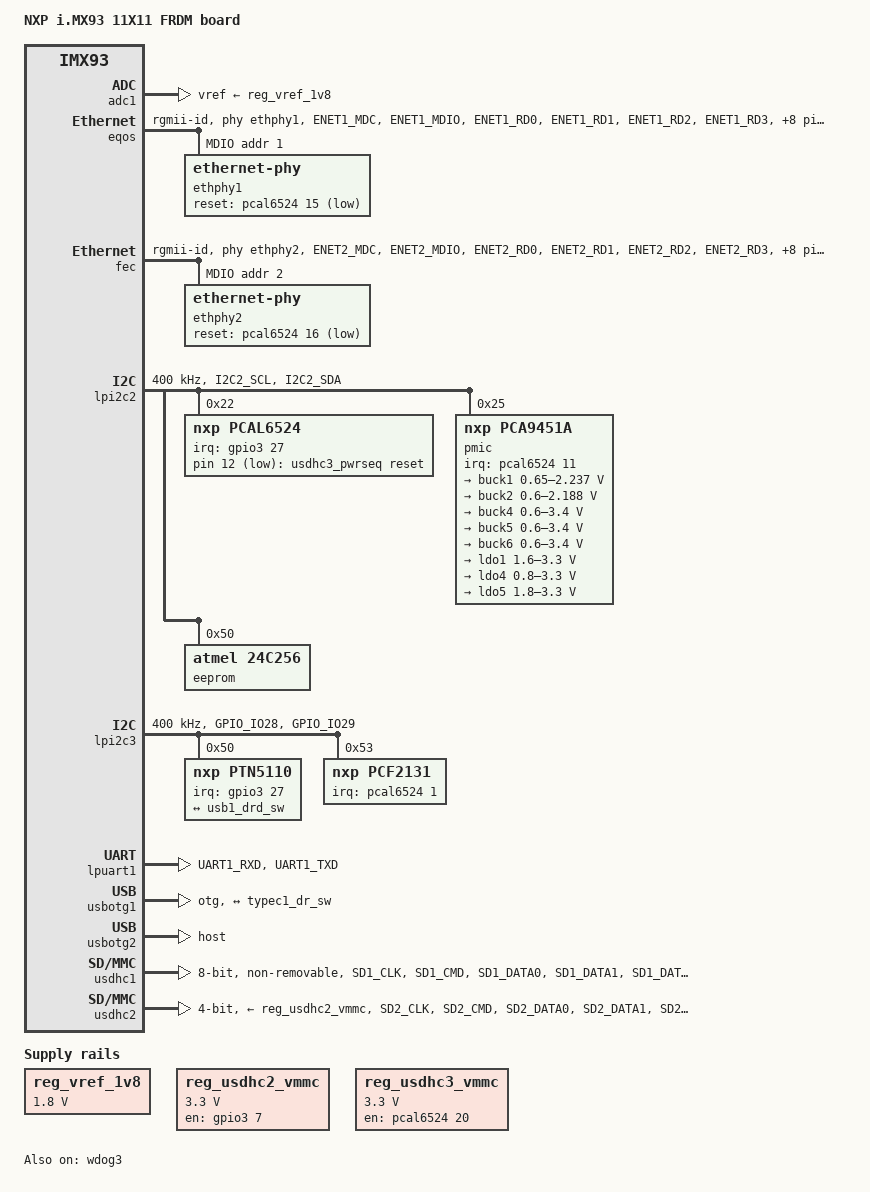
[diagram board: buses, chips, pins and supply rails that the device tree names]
// SPDX-License-Identifier: (GPL-2.0+ OR MIT)
/dts-v1/;

#include <dt-bindings/usb/pd.h>
#include "imx93.dtsi"

/ {
	compatible = "fsl,imx93-11x11-frdm", "fsl,imx93";
	model = "NXP i.MX93 11X11 FRDM board";

	aliases {
		mmc0 = &usdhc1; /* EMMC */
		mmc1 = &usdhc2; /* uSD */
		rtc0 = &pcf2131;
		serial0 = &lpuart1;
	};

	chosen {
		stdout-path = &lpuart1;
	};

	reg_vref_1v8: regulator-adc-vref {
		compatible = "regulator-fixed";
		regulator-min-microvolt = <1800000>;
		regulator-max-microvolt = <1800000>;
		regulator-name = "vref_1v8";
	};

	reg_usdhc2_vmmc: regulator-usdhc2 {
		compatible = "regulator-fixed";
		off-on-delay-us = <12000>;
		pinctrl-0 = <&pinctrl_reg_usdhc2_vmmc>;
		pinctrl-names = "default";
		regulator-min-microvolt = <3300000>;
		regulator-max-microvolt = <3300000>;
		regulator-name = "VSD_3V3";
		gpio = <&gpio3 7 GPIO_ACTIVE_HIGH>;
		enable-active-high;
	};

	reg_usdhc3_vmmc: regulator-usdhc3 {
		compatible = "regulator-fixed";
		regulator-min-microvolt = <3300000>;
		regulator-max-microvolt = <3300000>;
		regulator-name = "WLAN_EN";
		gpio = <&pcal6524 20 GPIO_ACTIVE_HIGH>;
		enable-active-high;
		/*
		 * IW612 wifi chip needs more delay than other wifi chips to complete
		 * the host interface initialization after power up, otherwise the
		 * internal state of IW612 may be unstable, resulting in the failure of
		 * the SDIO3.0 switch voltage.
		 */
		startup-delay-us = <20000>;
	};

	reserved-memory {
		ranges;
		#address-cells = <2>;
		#size-cells = <2>;

		linux,cma {
			compatible = "shared-dma-pool";
			alloc-ranges = <0 0x80000000 0 0x30000000>;
			reusable;
			size = <0 0x10000000>;
			linux,cma-default;
		};

		rsc_table: rsc-table@2021e000 {
			reg = <0 0x2021e000 0 0x1000>;
			no-map;
		};

		vdev0vring0: vdev0vring0@a4000000 {
			reg = <0 0xa4000000 0 0x8000>;
			no-map;
		};

		vdev0vring1: vdev0vring1@a4008000 {
			reg = <0 0xa4008000 0 0x8000>;
			no-map;
		};

		vdev1vring0: vdev1vring0@a4010000 {
			reg = <0 0xa4010000 0 0x8000>;
			no-map;
		};

		vdev1vring1: vdev1vring1@a4018000 {
			reg = <0 0xa4018000 0 0x8000>;
			no-map;
		};

		vdevbuffer: vdevbuffer@a4020000 {
			compatible = "shared-dma-pool";
			reg = <0 0xa4020000 0 0x100000>;
			no-map;
		};
	};

	usdhc3_pwrseq: usdhc3_pwrseq {
		compatible = "mmc-pwrseq-simple";
		reset-gpios = <&pcal6524 12 GPIO_ACTIVE_LOW>;
	};
};

&adc1 {
	vref-supply = <&reg_vref_1v8>;
	status = "okay";
};

&eqos {
	phy-handle = <&ethphy1>;
	phy-mode = "rgmii-id";
	pinctrl-0 = <&pinctrl_eqos>;
	pinctrl-1 = <&pinctrl_eqos_sleep>;
	pinctrl-names = "default", "sleep";
	status = "okay";

	mdio {
		compatible = "snps,dwmac-mdio";
		#address-cells = <1>;
		#size-cells = <0>;
		clock-frequency = <5000000>;

		ethphy1: ethernet-phy@1 {
			reg = <1>;
			reset-assert-us = <10000>;
			reset-deassert-us = <80000>;
			reset-gpios = <&pcal6524 15 GPIO_ACTIVE_LOW>;
		};
	};
};

&fec {
	phy-handle = <&ethphy2>;
	phy-mode = "rgmii-id";
	pinctrl-0 = <&pinctrl_fec>;
	pinctrl-1 = <&pinctrl_fec_sleep>;
	pinctrl-names = "default", "sleep";
	fsl,magic-packet;
	status = "okay";

	mdio {
		#address-cells = <1>;
		#size-cells = <0>;
		clock-frequency = <5000000>;

		ethphy2: ethernet-phy@2 {
			reg = <2>;
			eee-broken-1000t;
			reset-assert-us = <10000>;
			reset-deassert-us = <80000>;
			reset-gpios = <&pcal6524 16 GPIO_ACTIVE_LOW>;
		};
	};
};

&lpi2c2 {
	clock-frequency = <400000>;
	pinctrl-0 = <&pinctrl_lpi2c2>;
	pinctrl-names = "default";
	status = "okay";

	pcal6524: gpio@22 {
		compatible = "nxp,pcal6524";
		reg = <0x22>;
		#interrupt-cells = <2>;
		interrupt-controller;
		interrupt-parent = <&gpio3>;
		interrupts = <27 IRQ_TYPE_LEVEL_LOW>;
		#gpio-cells = <2>;
		gpio-controller;
		pinctrl-0 = <&pinctrl_pcal6524>;
		pinctrl-names = "default";
	};

	pmic@25 {
		compatible = "nxp,pca9451a";
		reg = <0x25>;
		interrupt-parent = <&pcal6524>;
		interrupts = <11 IRQ_TYPE_EDGE_FALLING>;

		regulators {

			buck1: BUCK1 {
				regulator-name = "BUCK1";
				regulator-always-on;
				regulator-boot-on;
				regulator-min-microvolt = <650000>;
				regulator-max-microvolt = <2237500>;
				regulator-ramp-delay = <3125>;
			};

			buck2: BUCK2 {
				regulator-name = "BUCK2";
				regulator-always-on;
				regulator-boot-on;
				regulator-min-microvolt = <600000>;
				regulator-max-microvolt = <2187500>;
				regulator-ramp-delay = <3125>;
			};

			buck4: BUCK4 {
				regulator-name = "BUCK4";
				regulator-always-on;
				regulator-boot-on;
				regulator-min-microvolt = <600000>;
				regulator-max-microvolt = <3400000>;
			};

			buck5: BUCK5 {
				regulator-name = "BUCK5";
				regulator-always-on;
				regulator-boot-on;
				regulator-min-microvolt = <600000>;
				regulator-max-microvolt = <3400000>;
			};

			buck6: BUCK6 {
				regulator-name = "BUCK6";
				regulator-always-on;
				regulator-boot-on;
				regulator-min-microvolt = <600000>;
				regulator-max-microvolt = <3400000>;
			};

			ldo1: LDO1 {
				regulator-name = "LDO1";
				regulator-always-on;
				regulator-boot-on;
				regulator-min-microvolt = <1600000>;
				regulator-max-microvolt = <3300000>;
			};

			ldo4: LDO4 {
				regulator-name = "LDO4";
				regulator-always-on;
				regulator-boot-on;
				regulator-min-microvolt = <800000>;
				regulator-max-microvolt = <3300000>;
			};

			ldo5: LDO5 {
				regulator-name = "LDO5";
				regulator-always-on;
				regulator-boot-on;
				regulator-min-microvolt = <1800000>;
				regulator-max-microvolt = <3300000>;
			};
		};
	};

	eeprom: eeprom@50 {
		compatible = "atmel,24c256";
		reg = <0x50>;
		pagesize = <64>;
	};
};

&lpi2c3 {
	#address-cells = <1>;
	#size-cells = <0>;
	clock-frequency = <400000>;
	pinctrl-0 = <&pinctrl_lpi2c3>;
	pinctrl-names = "default";
	status = "okay";

	ptn5110: tcpc@50 {
		compatible = "nxp,ptn5110", "tcpci";
		reg = <0x50>;
		interrupt-parent = <&gpio3>;
		interrupts = <27 IRQ_TYPE_LEVEL_LOW>;

		typec1_con: connector {
			compatible = "usb-c-connector";
			data-role = "dual";
			label = "USB-C";
			op-sink-microwatt = <15000000>;
			power-role = "dual";
			self-powered;
			sink-pdos = <PDO_FIXED(5000, 3000, PDO_FIXED_USB_COMM)
				     PDO_VAR(5000, 20000, 3000)>;
			source-pdos = <PDO_FIXED(5000, 3000, PDO_FIXED_USB_COMM)>;
			try-power-role = "sink";

			ports {
				#address-cells = <1>;
				#size-cells = <0>;

				port@0 {
					reg = <0>;

					typec1_dr_sw: endpoint {
						remote-endpoint = <&usb1_drd_sw>;
					};
				};
			};
		};
	};

	pcf2131: rtc@53 {
		compatible = "nxp,pcf2131";
		reg = <0x53>;
		interrupt-parent = <&pcal6524>;
		interrupts = <1 IRQ_TYPE_EDGE_FALLING>;
	};
};

&lpuart1 { /* console */
	pinctrl-0 = <&pinctrl_uart1>;
	pinctrl-names = "default";
	status = "okay";
};

&usbotg1 {
	adp-disable;
	disable-over-current;
	dr_mode = "otg";
	hnp-disable;
	srp-disable;
	usb-role-switch;
	samsung,picophy-dc-vol-level-adjust = <7>;
	samsung,picophy-pre-emp-curr-control = <3>;
	status = "okay";

	port {

		usb1_drd_sw: endpoint {
			remote-endpoint = <&typec1_dr_sw>;
		};
	};
};

&usbotg2 {
	disable-over-current;
	dr_mode = "host";
	samsung,picophy-dc-vol-level-adjust = <7>;
	samsung,picophy-pre-emp-curr-control = <3>;
	status = "okay";
};

&usdhc1 {
	bus-width = <8>;
	non-removable;
	pinctrl-0 = <&pinctrl_usdhc1>;
	pinctrl-1 = <&pinctrl_usdhc1_100mhz>;
	pinctrl-2 = <&pinctrl_usdhc1_200mhz>;
	pinctrl-names = "default", "state_100mhz", "state_200mhz";
	status = "okay";
};

&usdhc2 {
	bus-width = <4>;
	cd-gpios = <&gpio3 00 GPIO_ACTIVE_LOW>;
	no-mmc;
	no-sdio;
	pinctrl-0 = <&pinctrl_usdhc2>, <&pinctrl_usdhc2_gpio>;
	pinctrl-1 = <&pinctrl_usdhc2_100mhz>, <&pinctrl_usdhc2_gpio>;
	pinctrl-2 = <&pinctrl_usdhc2_200mhz>, <&pinctrl_usdhc2_gpio>;
	pinctrl-3 = <&pinctrl_usdhc2_sleep>, <&pinctrl_usdhc2_gpio_sleep>;
	pinctrl-names = "default", "state_100mhz", "state_200mhz", "sleep";
	vmmc-supply = <&reg_usdhc2_vmmc>;
	status = "okay";
};

&wdog3 {
	status = "okay";
};

&iomuxc {

	pinctrl_eqos: eqosgrp {
		fsl,pins = <
			MX93_PAD_ENET1_MDC__ENET_QOS_MDC			0x57e
			MX93_PAD_ENET1_MDIO__ENET_QOS_MDIO			0x57e
			MX93_PAD_ENET1_RD0__ENET_QOS_RGMII_RD0			0x57e
			MX93_PAD_ENET1_RD1__ENET_QOS_RGMII_RD1			0x57e
			MX93_PAD_ENET1_RD2__ENET_QOS_RGMII_RD2			0x57e
			MX93_PAD_ENET1_RD3__ENET_QOS_RGMII_RD3			0x57e
			MX93_PAD_ENET1_RXC__CCM_ENET_QOS_CLOCK_GENERATE_RX_CLK	0x58e
			MX93_PAD_ENET1_RX_CTL__ENET_QOS_RGMII_RX_CTL		0x57e
			MX93_PAD_ENET1_TD0__ENET_QOS_RGMII_TD0			0x57e
			MX93_PAD_ENET1_TD1__ENET_QOS_RGMII_TD1			0x57e
			MX93_PAD_ENET1_TD2__ENET_QOS_RGMII_TD2			0x57e
			MX93_PAD_ENET1_TD3__ENET_QOS_RGMII_TD3			0x57e
			MX93_PAD_ENET1_TXC__CCM_ENET_QOS_CLOCK_GENERATE_TX_CLK	0x58e
			MX93_PAD_ENET1_TX_CTL__ENET_QOS_RGMII_TX_CTL		0x57e
		>;
	};

	pinctrl_eqos_sleep: eqossleepgrp {
		fsl,pins = <
			MX93_PAD_ENET1_MDC__GPIO4_IO00				0x31e
			MX93_PAD_ENET1_MDIO__GPIO4_IO01				0x31e
			MX93_PAD_ENET1_RD0__GPIO4_IO10                          0x31e
			MX93_PAD_ENET1_RD1__GPIO4_IO11				0x31e
			MX93_PAD_ENET1_RD2__GPIO4_IO12				0x31e
			MX93_PAD_ENET1_RD3__GPIO4_IO13				0x31e
			MX93_PAD_ENET1_RXC__GPIO4_IO09                          0x31e
			MX93_PAD_ENET1_RX_CTL__GPIO4_IO08			0x31e
			MX93_PAD_ENET1_TD0__GPIO4_IO05                          0x31e
			MX93_PAD_ENET1_TD1__GPIO4_IO04                          0x31e
			MX93_PAD_ENET1_TD2__GPIO4_IO03				0x31e
			MX93_PAD_ENET1_TD3__GPIO4_IO02				0x31e
			MX93_PAD_ENET1_TXC__GPIO4_IO07                          0x31e
			MX93_PAD_ENET1_TX_CTL__GPIO4_IO06                       0x31e
		>;
	};

	pinctrl_fec: fecgrp {
		fsl,pins = <
			MX93_PAD_ENET2_MDC__ENET1_MDC			0x57e
			MX93_PAD_ENET2_MDIO__ENET1_MDIO			0x57e
			MX93_PAD_ENET2_RD0__ENET1_RGMII_RD0		0x57e
			MX93_PAD_ENET2_RD1__ENET1_RGMII_RD1		0x57e
			MX93_PAD_ENET2_RD2__ENET1_RGMII_RD2		0x57e
			MX93_PAD_ENET2_RD3__ENET1_RGMII_RD3		0x57e
			MX93_PAD_ENET2_RXC__ENET1_RGMII_RXC		0x58e
			MX93_PAD_ENET2_RX_CTL__ENET1_RGMII_RX_CTL	0x57e
			MX93_PAD_ENET2_TD0__ENET1_RGMII_TD0		0x57e
			MX93_PAD_ENET2_TD1__ENET1_RGMII_TD1		0x57e
			MX93_PAD_ENET2_TD2__ENET1_RGMII_TD2		0x57e
			MX93_PAD_ENET2_TD3__ENET1_RGMII_TD3		0x57e
			MX93_PAD_ENET2_TXC__ENET1_RGMII_TXC		0x58e
			MX93_PAD_ENET2_TX_CTL__ENET1_RGMII_TX_CTL	0x57e
		>;
	};

	pinctrl_fec_sleep: fecsleepgrp {
		fsl,pins = <
			MX93_PAD_ENET2_MDC__GPIO4_IO14			0x51e
			MX93_PAD_ENET2_MDIO__GPIO4_IO15			0x51e
			MX93_PAD_ENET2_RD0__GPIO4_IO24			0x51e
			MX93_PAD_ENET2_RD1__GPIO4_IO25			0x51e
			MX93_PAD_ENET2_RD2__GPIO4_IO26			0x51e
			MX93_PAD_ENET2_RD3__GPIO4_IO27			0x51e
			MX93_PAD_ENET2_RXC__GPIO4_IO23                  0x51e
			MX93_PAD_ENET2_RX_CTL__GPIO4_IO22		0x51e
			MX93_PAD_ENET2_TD0__GPIO4_IO19			0x51e
			MX93_PAD_ENET2_TD1__GPIO4_IO18			0x51e
			MX93_PAD_ENET2_TD2__GPIO4_IO17			0x51e
			MX93_PAD_ENET2_TD3__GPIO4_IO16			0x51e
			MX93_PAD_ENET2_TXC__GPIO4_IO21                  0x51e
			MX93_PAD_ENET2_TX_CTL__GPIO4_IO20               0x51e
		>;
	};

	pinctrl_flexcan2: flexcan2grp {
		fsl,pins = <
			MX93_PAD_GPIO_IO25__CAN2_TX	0x139e
			MX93_PAD_GPIO_IO27__CAN2_RX	0x139e
		>;
	};

	pinctrl_lpi2c2: lpi2c2grp {
		fsl,pins = <
			MX93_PAD_I2C2_SCL__LPI2C2_SCL			0x40000b9e
			MX93_PAD_I2C2_SDA__LPI2C2_SDA			0x40000b9e
		>;
	};

	pinctrl_lpi2c3: lpi2c3grp {
		fsl,pins = <
			MX93_PAD_GPIO_IO28__LPI2C3_SDA			0x40000b9e
			MX93_PAD_GPIO_IO29__LPI2C3_SCL			0x40000b9e
		>;
	};

	pinctrl_pcal6524: pcal6524grp {
		fsl,pins = <
			MX93_PAD_CCM_CLKO2__GPIO3_IO27			0x31e
		>;
	};

	pinctrl_reg_usdhc2_vmmc: regusdhc2vmmcgrp {
		fsl,pins = <
			MX93_PAD_SD2_RESET_B__GPIO3_IO07	0x31e
		>;
	};

	pinctrl_uart1: uart1grp {
		fsl,pins = <
			MX93_PAD_UART1_RXD__LPUART1_RX			0x31e
			MX93_PAD_UART1_TXD__LPUART1_TX			0x31e
		>;
	};

	/* need to config the SION for data and cmd pad, refer to ERR052021 */
	pinctrl_usdhc1: usdhc1grp {
		fsl,pins = <
			MX93_PAD_SD1_CLK__USDHC1_CLK		0x1582
			MX93_PAD_SD1_CMD__USDHC1_CMD		0x40001382
			MX93_PAD_SD1_DATA0__USDHC1_DATA0	0x40001382
			MX93_PAD_SD1_DATA1__USDHC1_DATA1	0x40001382
			MX93_PAD_SD1_DATA2__USDHC1_DATA2	0x40001382
			MX93_PAD_SD1_DATA3__USDHC1_DATA3	0x40001382
			MX93_PAD_SD1_DATA4__USDHC1_DATA4	0x40001382
			MX93_PAD_SD1_DATA5__USDHC1_DATA5	0x40001382
			MX93_PAD_SD1_DATA6__USDHC1_DATA6	0x40001382
			MX93_PAD_SD1_DATA7__USDHC1_DATA7	0x40001382
			MX93_PAD_SD1_STROBE__USDHC1_STROBE	0x1582
		>;
	};

	/* need to config the SION for data and cmd pad, refer to ERR052021 */
	pinctrl_usdhc1_100mhz: usdhc1-100mhzgrp {
		fsl,pins = <
			MX93_PAD_SD1_CLK__USDHC1_CLK		0x158e
			MX93_PAD_SD1_CMD__USDHC1_CMD		0x4000138e
			MX93_PAD_SD1_DATA0__USDHC1_DATA0	0x4000138e
			MX93_PAD_SD1_DATA1__USDHC1_DATA1	0x4000138e
			MX93_PAD_SD1_DATA2__USDHC1_DATA2	0x4000138e
			MX93_PAD_SD1_DATA3__USDHC1_DATA3	0x4000138e
			MX93_PAD_SD1_DATA4__USDHC1_DATA4	0x4000138e
			MX93_PAD_SD1_DATA5__USDHC1_DATA5	0x4000138e
			MX93_PAD_SD1_DATA6__USDHC1_DATA6	0x4000138e
			MX93_PAD_SD1_DATA7__USDHC1_DATA7	0x4000138e
			MX93_PAD_SD1_STROBE__USDHC1_STROBE	0x158e
		>;
	};

	/* need to config the SION for data and cmd pad, refer to ERR052021 */
	pinctrl_usdhc1_200mhz: usdhc1-200mhzgrp {
		fsl,pins = <
			MX93_PAD_SD1_CLK__USDHC1_CLK		0x15fe
			MX93_PAD_SD1_CMD__USDHC1_CMD		0x400013fe
			MX93_PAD_SD1_DATA0__USDHC1_DATA0	0x400013fe
			MX93_PAD_SD1_DATA1__USDHC1_DATA1	0x400013fe
			MX93_PAD_SD1_DATA2__USDHC1_DATA2	0x400013fe
			MX93_PAD_SD1_DATA3__USDHC1_DATA3	0x400013fe
			MX93_PAD_SD1_DATA4__USDHC1_DATA4	0x400013fe
			MX93_PAD_SD1_DATA5__USDHC1_DATA5	0x400013fe
			MX93_PAD_SD1_DATA6__USDHC1_DATA6	0x400013fe
			MX93_PAD_SD1_DATA7__USDHC1_DATA7	0x400013fe
			MX93_PAD_SD1_STROBE__USDHC1_STROBE	0x15fe
		>;
	};

	pinctrl_usdhc2_gpio: usdhc2gpiogrp {
		fsl,pins = <
			MX93_PAD_SD2_CD_B__GPIO3_IO00		0x31e
		>;
	};

	pinctrl_usdhc2_gpio_sleep: usdhc2gpiosleepgrp {
		fsl,pins = <
			MX93_PAD_SD2_CD_B__GPIO3_IO00		0x51e
		>;
	};

	/* need to config the SION for data and cmd pad, refer to ERR052021 */
	pinctrl_usdhc2: usdhc2grp {
		fsl,pins = <
			MX93_PAD_SD2_CLK__USDHC2_CLK		0x1582
			MX93_PAD_SD2_CMD__USDHC2_CMD		0x40001382
			MX93_PAD_SD2_DATA0__USDHC2_DATA0	0x40001382
			MX93_PAD_SD2_DATA1__USDHC2_DATA1	0x40001382
			MX93_PAD_SD2_DATA2__USDHC2_DATA2	0x40001382
			MX93_PAD_SD2_DATA3__USDHC2_DATA3	0x40001382
			MX93_PAD_SD2_VSELECT__USDHC2_VSELECT	0x51e
		>;
	};

	/* need to config the SION for data and cmd pad, refer to ERR052021 */
	pinctrl_usdhc2_100mhz: usdhc2-100mhzgrp {
		fsl,pins = <
			MX93_PAD_SD2_CLK__USDHC2_CLK		0x158e
			MX93_PAD_SD2_CMD__USDHC2_CMD		0x4000138e
			MX93_PAD_SD2_DATA0__USDHC2_DATA0	0x4000138e
			MX93_PAD_SD2_DATA1__USDHC2_DATA1	0x4000138e
			MX93_PAD_SD2_DATA2__USDHC2_DATA2	0x4000138e
			MX93_PAD_SD2_DATA3__USDHC2_DATA3	0x4000138e
			MX93_PAD_SD2_VSELECT__USDHC2_VSELECT	0x51e
		>;
	};

	/* need to config the SION for data and cmd pad, refer to ERR052021 */
	pinctrl_usdhc2_200mhz: usdhc2-200mhzgrp {
		fsl,pins = <
			MX93_PAD_SD2_CLK__USDHC2_CLK		0x15fe
			MX93_PAD_SD2_CMD__USDHC2_CMD		0x400013fe
			MX93_PAD_SD2_DATA0__USDHC2_DATA0	0x400013fe
			MX93_PAD_SD2_DATA1__USDHC2_DATA1	0x400013fe
			MX93_PAD_SD2_DATA2__USDHC2_DATA2	0x400013fe
			MX93_PAD_SD2_DATA3__USDHC2_DATA3	0x400013fe
			MX93_PAD_SD2_VSELECT__USDHC2_VSELECT	0x51e
		>;
	};

	pinctrl_usdhc2_sleep: usdhc2-sleepgrp {
		fsl,pins = <
			MX93_PAD_SD2_CLK__GPIO3_IO01            0x51e
			MX93_PAD_SD2_CMD__GPIO3_IO02		0x51e
			MX93_PAD_SD2_DATA0__GPIO3_IO03		0x51e
			MX93_PAD_SD2_DATA1__GPIO3_IO04		0x51e
			MX93_PAD_SD2_DATA2__GPIO3_IO05		0x51e
			MX93_PAD_SD2_DATA3__GPIO3_IO06		0x51e
			MX93_PAD_SD2_VSELECT__GPIO3_IO19	0x51e
		>;
	};
};
